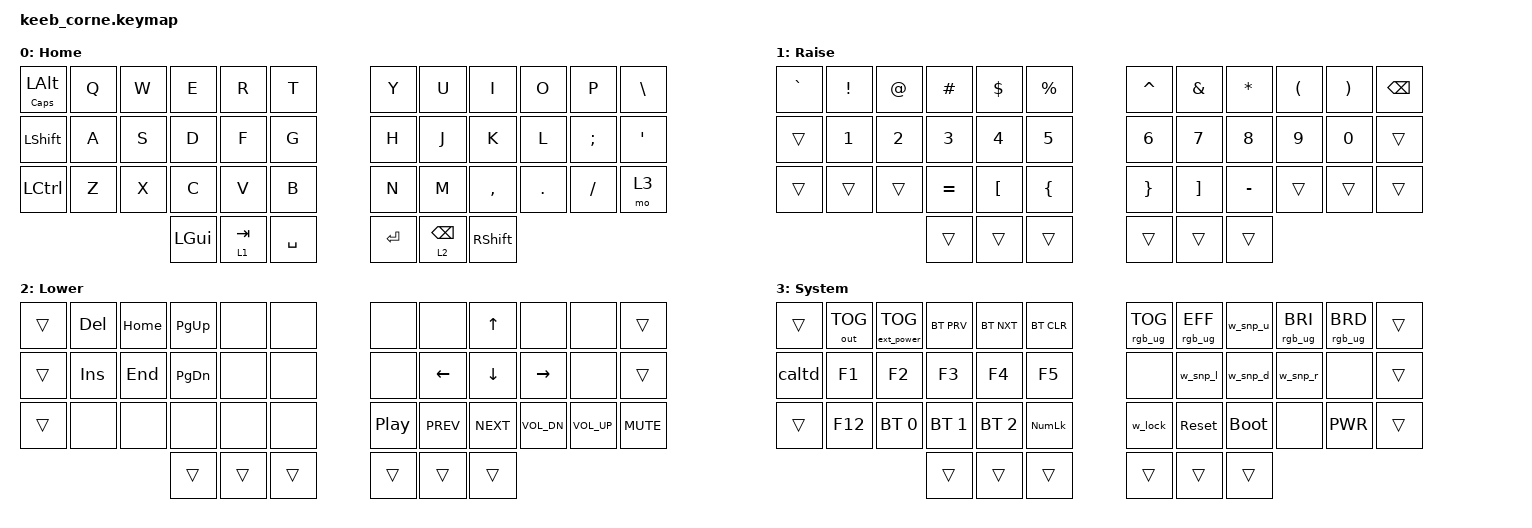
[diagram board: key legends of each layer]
/*
 * Copyright (c) 2020 The ZMK Contributors
 *
 * SPDX-License-Identifier: MIT
 */

#include <behaviors.dtsi>
#include <dt-bindings/zmk/bt.h>
#include <dt-bindings/zmk/ext_power.h>
#include <dt-bindings/zmk/keys.h>
#include <dt-bindings/zmk/outputs.h>
#include <dt-bindings/zmk/rgb.h>

&led_strip { chain-length = <27>; };

/ {
    macros {
        caltd: caltd {
            compatible = "zmk,behavior-macro";
            #binding-cells = <0>;
            bindings = <&kp LC(LA(DEL))>;
            label = "CALTD";
        };

        alt_tab: alt_tab {
            compatible = "zmk,behavior-macro";
            #binding-cells = <0>;
            bindings = <&kp LA(TAB)>;
            label = "ALT_TAB";
        };

        alt_f4: alt_f4 {
            compatible = "zmk,behavior-macro";
            #binding-cells = <0>;
            bindings = <&kp LA(F4)>;
            label = "ALT_F4";
        };

        w_snp_l: w_snp_l {
            compatible = "zmk,behavior-macro";
            #binding-cells = <0>;
            bindings = <&kp LG(LEFT)>;
            label = "W_SNP_L";
        };

        w_snp_r: w_snp_r {
            compatible = "zmk,behavior-macro";
            #binding-cells = <0>;
            bindings = <&kp LG(RIGHT)>;
            label = "W_SNP_R";
        };

        w_snp_u: w_snp_u {
            compatible = "zmk,behavior-macro";
            #binding-cells = <0>;
            bindings = <&kp LG(UP_ARROW)>;
            label = "W_SNP_U";
        };

        w_snp_d: w_snp_d {
            compatible = "zmk,behavior-macro";
            #binding-cells = <0>;
            bindings = <&kp LG(DOWN_ARROW)>;
            label = "W_SNP_D";
        };

        w_lock: w_lock {
            compatible = "zmk,behavior-macro";
            #binding-cells = <0>;
            bindings = <&kp LG(L)>;
            label = "W_LOCK";
        };
    };

    combos {
        compatible = "zmk,combos";

        escape {
            bindings = <&kp ESC>;
            key-positions = <19 20>;
        };
    };

    keymap {
        compatible = "zmk,keymap";

        default_layer {
            // -----------------------------------------------------------------------------------------
            // | CAPS |  Q  |  W  |  E  |  R  |  T  |   |  Y  |  U   |  I  |  O  |  P  |  \   |
            // | SHFT |  A  |  S  |  D  |  F  |  G  |   |  H  |  J   |  K  |  L  |  ;  |  '   |
            // | CTRL |  Z  |  X  |  C  |  V  |  B  |   |  N  |  M   |  ,  |  .  |  /  | FUN  |
            //                    | GUI | LWR | SPC |   | ENT | RSE  | ALT |

            bindings = <
&mt CAPS LEFT_ALT  &kp Q           &kp W           &kp E           &kp R           &kp T                          &kp Y           &kp U           &kp I           &kp O           &kp P           &kp BSLH 
&kp LEFT_SHIFT     &kp A           &kp S           &kp D           &kp F           &kp G                          &kp H           &kp J           &kp K           &kp L           &kp SEMI         &kp SQT
&kp LCTRL          &kp Z           &kp X           &kp C           &kp V           &kp B                          &kp N           &kp M           &kp COMMA       &kp DOT         &kp FSLH           &mo 3
                                 &kp LEFT_GUI  &lt 1 TAB  &kp SPACE    &kp RET  &lt 2 BACKSPACE  &kp RIGHT_SHIFT
            >;

            label = "Home";
        };

        raise_layer {
             // -----------------------------------------------------------------------------------------
            // |   `  |  !   |   @  |  #   |   $  |   %  |   |   ^  |   &  |  *   |   (  |   )  | BKSP |
            // |      |  1   |   2  |  3   |   4  |   5  |   |   6  |   7  |  8   |  9   |  0   |      |
            // |      |      |      |  =   |   [  |   {  |   |   }  |   ]  |  -   |      |      |      |
            //                      |      |      |      |   |      |      |      |

            bindings = <
&kp GRAVE  &kp EXCLAMATION  &kp AT_SIGN   &kp HASH      &kp DOLLAR  &kp PERCENT    &kp CARET  &kp AMPS  &kp ASTRK  &kp LEFT_PARENTHESIS  &kp RPAR  &kp BACKSPACE
&trans     &kp NUMBER_1     &kp NUMBER_2  &kp NUMBER_3  &kp N4      &kp N5         &kp N6     &kp N7    &kp N8     &kp N9                &kp N0    &trans
&trans     &trans           &trans        &kp EQUAL     &kp LBKT    &kp LBRC       &kp RBRC   &kp RBKT  &kp MINUS  &trans                &trans    &trans
                                          &trans        &trans      &trans         &trans     &trans    &trans
            >;

            label = "Raise";
        };

        lower_layer {
            // -----------------------------------------------------------------------------------------
            // |      | DEL  | HOME | PGU  |      |      |   |      |      | UP   |      |      |      |
            // |      | INS  | END  | PGD  |      |      |   |      | LFT  | DWN  | RGT  |      |      |
            // |      |      | BT0  | BT1  |      |      |   | PLAY | PREV | NEXT | VOLD | VOLU | MUTE |
            //                      |      |      |      |   |      |      |      |

            bindings = <
&trans  &kp DELETE  &kp HOME  &kp PAGE_UP    &none   &none     &none     &none       &kp UP      &none         &none         &trans
&trans  &kp INS     &kp END   &kp PAGE_DOWN  &none   &none     &none     &kp LEFT    &kp DOWN    &kp RIGHT     &none         &trans
&trans  &none       &none     &none          &none   &none     &kp C_PP  &kp C_PREV  &kp C_NEXT  &kp C_VOL_DN  &kp C_VOL_UP  &kp C_MUTE
                              &trans         &trans  &trans    &trans    &trans      &trans
            >;

            label = "Lower";
        };

        func_layer {
            // -----------------------------------------------------------------------------------------
            // |      | OUT  | POW  | BTP  | BTN  | BTC  |   | RGBT | RGBN | WSNU | RGBU | RGBD |      |
            // |      | F1   | F2   | F3   | F5   |      |   | LFT  | WSNL | WSND | WSNR |      |      |
            // |      | F12  | BT0  | BT1  | NUM  |      |   | WKCK | RST  | BOOT |      | PWR  |      |
            //                      |      |      |      |   |      |      |      |

            bindings = <
&trans  &out OUT_TOG  &ext_power EP_TOG  &bt BT_PRV    &bt BT_NXT    &bt BT_CLR    &rgb_ug RGB_TOG  &rgb_ug RGB_EFF  &w_snp_u     &rgb_ug RGB_BRI  &rgb_ug RGB_BRD  &trans
&caltd  &kp F1        &kp F2             &kp F3        &kp F4        &kp F5        &none            &w_snp_l         &w_snp_d     &w_snp_r         &none            &trans
&trans  &kp F12       &bt BT_SEL 0       &bt BT_SEL 1  &bt BT_SEL 2  &kp KP_NUM    &w_lock          &sys_reset       &bootloader  &none            &kp K_PWR        &trans
                                         &trans        &trans        &trans        &trans           &trans           &trans
            >;

            label = "System";
        };
    };
};
